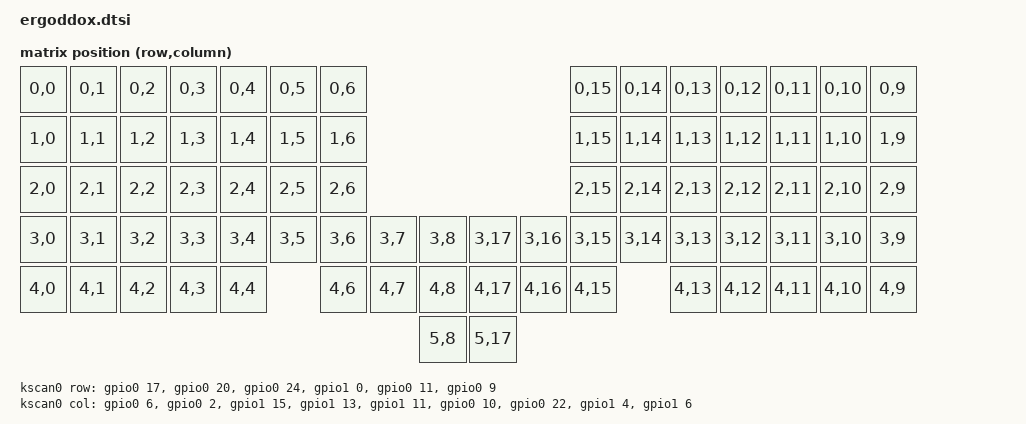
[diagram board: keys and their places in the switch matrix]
#include <dt-bindings/zmk/matrix_transform.h>
#include <dt-bindings/led/led.h>

&pinctrl {
    spi3_default: spi3_default {
        group1 {
            psels = <NRF_PSEL(SPIM_MOSI, 0, 8)>;
        };
    };

    spi3_sleep: spi3_sleep {
        group1 {
            psels = <NRF_PSEL(SPIM_MOSI, 0, 8)>;
            low-power-enable;
        };
    };
};

&spi3 {
    compatible = "nordic,nrf-spim";
    status = "okay";

    pinctrl-0 = <&spi3_default>;
    pinctrl-1 = <&spi3_sleep>;
    pinctrl-names = "default", "sleep";

    led_strip: ws2812@0 {
        compatible = "worldsemi,ws2812-spi";

        /* SPI */
        reg = <0>; /* ignored, but necessary for SPI bindings */
        spi-max-frequency = <4000000>;

        /* WS2812 */
        chain-length = <38>; /* number of LEDs */
        spi-one-frame = <0x70>;
        spi-zero-frame = <0x40>;
        color-mapping = <LED_COLOR_ID_GREEN
                         LED_COLOR_ID_RED
                         LED_COLOR_ID_BLUE>;
    };
};

/ {
    chosen {
        zmk,physical-layout = &physical_layout0;
        zmk,underglow = &led_strip;
    };

    kscan0: kscan0 {
        compatible = "zmk,kscan-gpio-matrix";
        diode-direction = "col2row";
        wakeup-source;

        row-gpios
            = <&gpio0 17 (GPIO_ACTIVE_HIGH | GPIO_PULL_DOWN)>
            , <&gpio0 20 (GPIO_ACTIVE_HIGH | GPIO_PULL_DOWN)>
            , <&gpio0 24 (GPIO_ACTIVE_HIGH | GPIO_PULL_DOWN)>
            , <&gpio1 0 (GPIO_ACTIVE_HIGH | GPIO_PULL_DOWN)>
            , <&gpio0 11 (GPIO_ACTIVE_HIGH | GPIO_PULL_DOWN)>
            , <&gpio0 9 (GPIO_ACTIVE_HIGH | GPIO_PULL_DOWN)>
            ;

        col-gpios
            = <&gpio0 6 GPIO_ACTIVE_HIGH>
            , <&gpio0 2 GPIO_ACTIVE_HIGH>
            , <&gpio1 15 GPIO_ACTIVE_HIGH>
            , <&gpio1 13 GPIO_ACTIVE_HIGH>
            , <&gpio1 11 GPIO_ACTIVE_HIGH>
            , <&gpio0 10 GPIO_ACTIVE_HIGH>
            , <&gpio0 22 GPIO_ACTIVE_HIGH>
            , <&gpio1 4 GPIO_ACTIVE_HIGH>
            , <&gpio1 6 GPIO_ACTIVE_HIGH>
            ;
    };

    default_transform: keymap_transform0 {
        compatible = "zmk,matrix-transform";
        columns = <18>;
        rows = <6>;
        map = <
            RC(0,0) RC(0,1) RC(0,2) RC(0,3) RC(0,4) RC(0,5) RC(0,6)                                      RC(0,15) RC(0,14) RC(0,13) RC(0,12) RC(0,11) RC(0,10) RC(0,9)
            RC(1,0) RC(1,1) RC(1,2) RC(1,3) RC(1,4) RC(1,5) RC(1,6)                                      RC(1,15) RC(1,14) RC(1,13) RC(1,12) RC(1,11) RC(1,10) RC(1,9)
            RC(2,0) RC(2,1) RC(2,2) RC(2,3) RC(2,4) RC(2,5) RC(2,6)                                      RC(2,15) RC(2,14) RC(2,13) RC(2,12) RC(2,11) RC(2,10) RC(2,9)
            RC(3,0) RC(3,1) RC(3,2) RC(3,3) RC(3,4) RC(3,5) RC(3,6) RC(3,7) RC(3,8)    RC(3,17) RC(3,16) RC(3,15) RC(3,14) RC(3,13) RC(3,12) RC(3,11) RC(3,10) RC(3,9)
            RC(4,0) RC(4,1) RC(4,2) RC(4,3) RC(4,4)         RC(4,6) RC(4,7) RC(4,8)    RC(4,17) RC(4,16) RC(4,15)          RC(4,13) RC(4,12) RC(4,11) RC(4,10) RC(4,9)
                                                                            RC(5,8)    RC(5,17)
        >;
    };

    physical_layout0: physical_layout_0 {
        compatible = "zmk,physical-layout";
        display-name = "Default Layout";
        kscan = <&kscan0>;
        transform = <&default_transform>;
    };
};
